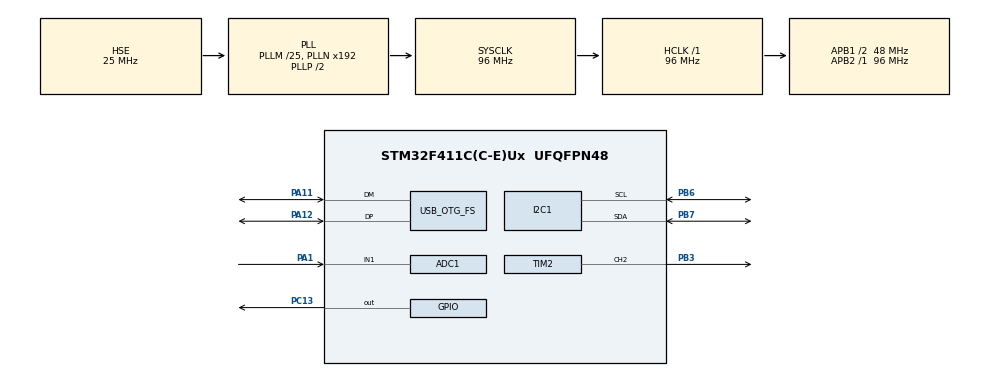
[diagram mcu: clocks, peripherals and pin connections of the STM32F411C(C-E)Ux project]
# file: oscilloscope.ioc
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ADC1.Channel-0\#ChannelRegularConversion=ADC_CHANNEL_1
ADC1.ContinuousConvMode=ENABLE
ADC1.DMAContinuousRequests=ENABLE
ADC1.ExternalTrigConv=ADC_SOFTWARE_START
ADC1.NbrOfConversion=1
ADC1.NbrOfConversionFlag=1
ADC1.Rank-0\#ChannelRegularConversion=1
ADC1.SamplingTime-0\#ChannelRegularConversion=ADC_SAMPLETIME_3CYCLES
ADC1.master=1
Dma.ADC1.0.Direction=DMA_PERIPH_TO_MEMORY
Dma.ADC1.0.FIFOMode=DMA_FIFOMODE_DISABLE
Dma.ADC1.0.Instance=DMA2_Stream0
Dma.ADC1.0.MemDataAlignment=DMA_MDATAALIGN_HALFWORD
Dma.ADC1.0.MemInc=DMA_MINC_ENABLE
Dma.ADC1.0.Mode=DMA_CIRCULAR
Dma.ADC1.0.PeriphDataAlignment=DMA_PDATAALIGN_HALFWORD
Dma.ADC1.0.PeriphInc=DMA_PINC_DISABLE
Dma.ADC1.0.Priority=DMA_PRIORITY_LOW
Dma.Request0=ADC1
Mcu.Family=STM32F4
Mcu.Name=STM32F411C(C-E)Ux
Mcu.Package=UFQFPN48
NVIC.DMA2_Stream0_IRQn=true\:0\:0\:false\:false\:true\:false\:true\:true
NVIC.OTG_FS_IRQn=true\:0\:0\:false\:false\:true\:false\:true\:true
NVIC.PriorityGroup=NVIC_PRIORITYGROUP_4
PA1.Signal=ADCx_IN1
PA11.Mode=Device_Only
PA11.Signal=USB_OTG_FS_DM
PA12.Mode=Device_Only
PA12.Signal=USB_OTG_FS_DP
PB3.Signal=S_TIM2_CH2
PB6.Mode=I2C
PB6.Signal=I2C1_SCL
PB7.Mode=I2C
PB7.Signal=I2C1_SDA
PC13-ANTI_TAMP.Signal=GPIO_Output
PC14-OSC32_IN.Mode=LSE-External-Oscillator
PC14-OSC32_IN.Signal=RCC_OSC32_IN
PC15-OSC32_OUT.Mode=LSE-External-Oscillator
PC15-OSC32_OUT.Signal=RCC_OSC32_OUT
PH0\ -\ OSC_IN.Mode=HSE-External-Oscillator
PH0\ -\ OSC_IN.Signal=RCC_OSC_IN
PH1\ -\ OSC_OUT.Mode=HSE-External-Oscillator
PH1\ -\ OSC_OUT.Signal=RCC_OSC_OUT
ProjectManager.HeapSize=0x200
ProjectManager.StackSize=0x400
ProjectManager.TargetToolchain=Makefile
RCC.48MHZClocksFreq_Value=48000000
RCC.AHBFreq_Value=96000000
RCC.APB1CLKDivider=RCC_HCLK_DIV2
RCC.APB1Freq_Value=48000000
RCC.APB1TimFreq_Value=96000000
RCC.APB2Freq_Value=96000000
RCC.APB2TimFreq_Value=96000000
RCC.CortexFreq_Value=96000000
RCC.HCLKFreq_Value=96000000
RCC.HSE_VALUE=25000000
RCC.HSI_VALUE=16000000
RCC.PLLM=25
RCC.SYSCLKFreq_VALUE=96000000
RCC.SYSCLKSource=RCC_SYSCLKSOURCE_PLLCLK
RCC.VCOOutputFreq_Value=192000000
SH.ADCx_IN1.0=ADC1_IN1,IN1
SH.S_TIM2_CH2.0=TIM2_CH2,PWM Generation2 CH2
TIM11.Period=65535
TIM11.Prescaler=96-1
TIM2.AutoReloadPreload=TIM_AUTORELOAD_PRELOAD_ENABLE
TIM2.Channel-PWM\ Generation2\ CH2=TIM_CHANNEL_2
TIM2.Period=65535
USB_DEVICE.CLASS_NAME_FS=CDC
USB_DEVICE.VirtualMode=Cdc
USB_DEVICE.VirtualModeFS=Cdc_FS
USB_OTG_FS.VirtualMode=Device_Only
VP_TIM11_VS_ClockSourceINT.Mode=Enable_Timer
VP_TIM2_VS_ClockSourceINT.Mode=Internal
VP_USB_DEVICE_VS_USB_DEVICE_CDC_FS.Mode=CDC_FS
board=custom

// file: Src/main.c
/* USER CODE BEGIN Header */
/**
  ******************************************************************************
  * @file           : main.c
  * @brief          : Main program body
  ******************************************************************************
  * @attention
  *
  * Copyright (c) 2022 STMicroelectronics.
  * All rights reserved.
  *
  * This software is licensed under terms that can be found in the LICENSE file
  * in the root directory of this software component.
  * If no LICENSE file comes with this software, it is provided AS-IS.
  *
  ******************************************************************************
  */
/* USER CODE END Header */
#include "main.h"
#include "usb_device.h"

/* USER CODE BEGIN Includes */
#include <stdbool.h>
#include <stdio.h>

#include "setting.h"
#include "usbd_cdc_if.h"

/* USER CODE END Includes */

/* USER CODE BEGIN PD */
#define ADC_BUF_LEN 8192
#define SECOND 1000

/* USER CODE END PD */

ADC_HandleTypeDef hadc1;
DMA_HandleTypeDef hdma_adc1;

I2C_HandleTypeDef hi2c1;

TIM_HandleTypeDef htim2;
TIM_HandleTypeDef htim11;

/* USER CODE BEGIN PV */

// adc buffer
uint16_t adc_buf[ADC_BUF_LEN];
bool flag_adc_full = false;
bool adc_half_flag = false;

/* USER CODE END PV */

void SystemClock_Config(void);
static void MX_GPIO_Init(void);
static void MX_DMA_Init(void);
static void MX_ADC1_Init(void);
static void MX_I2C1_Init(void);
static void MX_TIM11_Init(void);
static void MX_TIM2_Init(void);

/* USER CODE BEGIN 0 */

/**
 * @brief overload of _write function for use with printf
 *
 * @param file - not in use
 * @param ptr c_str
 * @param len of the string
 * @return int - if all sended it will return
 */
int _write(int file, char* ptr, int len)
{
    static uint8_t ret = USBD_OK;
    do
    {
        ret = CDC_Transmit_FS((uint8_t*)ptr, len);
    } while (ret == USBD_BUSY);
    return len;
}

/**
 * @brief print the time it took in `us` to cdc
 *
 * @param start_time
 */
static inline void printTimeLog_us(uint16_t start_time)
{
    uint16_t timer_took = __HAL_TIM_GET_COUNTER(&htim11) - start_time;
    printf("time: %u us\r\n", timer_took);
}
/**
 * @brief print the time it took in `ms` to cdc
 *
 * @param start_time
 */
static inline void printTimeLog_ms(uint32_t start_time)
{
    uint32_t timer_took = HAL_GetTick() - start_time;
    printf("time: %lu ms\r\n", timer_took);
}

/**
 * @brief print the buffer in a cycle way
 *
 * @param adc_buf the buffer of the ADC
 * @param start_pos starting position can be before the real pos (can be minus)
 * @param send_size how much to send
 * @param stride how many reading to jump over
 */
void printAdcBuffer(uint16_t* adc_buf, int start_pos, uint16_t send_size, uint16_t stride)
{
    int buffer_size = ADC_BUF_LEN;
    int arr_pos     = (start_pos + buffer_size) % buffer_size;

    for (int i = start_pos; i < start_pos + send_size * stride; i += stride)
    {
        printf("%u\r\n", adc_buf[arr_pos]);
        arr_pos = (arr_pos + stride) % buffer_size;
    }
}

/* USER CODE END 0 */

int main(void)
{

  /* MCU Configuration--------------------------------------------------------*/

  /* Reset of all peripherals, Initializes the Flash interface and the Systick. */
  HAL_Init();

  /* Configure the system clock */
  SystemClock_Config();

  /* Initialize all configured peripherals */
  MX_GPIO_Init();
  MX_DMA_Init();
  MX_ADC1_Init();
  MX_I2C1_Init();
  MX_TIM11_Init();
  MX_USB_DEVICE_Init();
  MX_TIM2_Init();
  /* USER CODE BEGIN 2 */
  HAL_ADC_Start_DMA(&hadc1, (uint32_t*)adc_buf, ADC_BUF_LEN);
  HAL_TIM_Base_Start(&htim11);

  HAL_TIM_PWM_Start(&htim2, TIM_CHANNEL_2);

#define SCREEN_SIZE 500
#define MAX_READING 4096

  Setting setting = {
      .stride            = 2,
      .trigger_volt      = MAX_READING / 2,
      .send_size         = SCREEN_SIZE,
      .trigger_direction = UP,
      .rewind            = 10,
  };

  TIM2->CCR2 = 65535 / 100;
  /* USER CODE END 2 */

  /* Infinite loop */
  while (1)
  {
    /* USER CODE BEGIN 3 */
    // // time in us
    // uint16_t timer_us = __HAL_TIM_GET_COUNTER(&htim11); // this is good up to 65ms
    // // <function>
    // printTimeLog_us(timer_us);

    // // time in ms
    // uint32_t timer_ms = HAL_GetTick();
    // // <function>
    // printTimeLog_ms(timer_ms);

    // check if got new input
    if (g_receive_new_data)
    {
        g_receive_new_data = false;
        configSetting(g_receive_buffer, &setting);
    }

    if (flag_adc_full)
    {
        flag_adc_full = false;
        HAL_ADC_Stop_DMA(&hadc1);

        bool scanning = true;
        bool trigger_setup = false;
        for (size_t i = 0; i < ADC_BUF_LEN && scanning; i++)
        {
            switch (setting.trigger_direction)
            {
                case UP:
                    if (adc_buf[i] < setting.trigger_volt)
                    {
                        trigger_setup = true;
                    }
                    if (adc_buf[i] >= setting.trigger_volt && trigger_setup)
                    {
                        // TODO: put adc buff in struct
                        printAdcBuffer(adc_buf, i - setting.rewind, setting.send_size, setting.stride);
                        HAL_Delay(SECOND / 2);
                        HAL_GPIO_WritePin(GPIOC, GPIO_PIN_13, GPIO_PIN_RESET);
                        scanning = false;
                    }
                    break;
                case DOWN:
                    if (adc_buf[i] >= setting.trigger_volt)
                    {
                        trigger_setup = true;
                    }
                    if (adc_buf[i] < setting.trigger_volt && trigger_setup)
                    {
                        // TODO: put adc buff in struct
                        printAdcBuffer(adc_buf, i - setting.rewind, setting.send_size, setting.stride);
                        HAL_Delay(SECOND / 2);
                        HAL_GPIO_WritePin(GPIOC, GPIO_PIN_13, GPIO_PIN_RESET);
                        scanning = false;
                    }
                    break;
                case STOP:
                    scanning = false;
                    break;

                default:
                    scanning = false;
                    break;
            }
        }
        HAL_ADC_Start_DMA(&hadc1, (uint32_t*)adc_buf, ADC_BUF_LEN);
    }
  }
  /* USER CODE END 3 */
}

void SystemClock_Config(void)
{
  RCC_OscInitTypeDef RCC_OscInitStruct = {0};
  RCC_ClkInitTypeDef RCC_ClkInitStruct = {0};

  /** Configure the main internal regulator output voltage
  */
  __HAL_RCC_PWR_CLK_ENABLE();
  __HAL_PWR_VOLTAGESCALING_CONFIG(PWR_REGULATOR_VOLTAGE_SCALE1);

  /** Initializes the RCC Oscillators according to the specified parameters
  * in the RCC_OscInitTypeDef structure.
  */
  RCC_OscInitStruct.OscillatorType = RCC_OSCILLATORTYPE_HSE;
  RCC_OscInitStruct.HSEState = RCC_HSE_ON;
  RCC_OscInitStruct.PLL.PLLState = RCC_PLL_ON;
  RCC_OscInitStruct.PLL.PLLSource = RCC_PLLSOURCE_HSE;
  RCC_OscInitStruct.PLL.PLLM = 25;
  RCC_OscInitStruct.PLL.PLLN = 192;
  RCC_OscInitStruct.PLL.PLLP = RCC_PLLP_DIV2;
  RCC_OscInitStruct.PLL.PLLQ = 4;
  if (HAL_RCC_OscConfig(&RCC_OscInitStruct) != HAL_OK)
  {
    Error_Handler();
  }

  /** Initializes the CPU, AHB and APB buses clocks
  */
  RCC_ClkInitStruct.ClockType = RCC_CLOCKTYPE_HCLK|RCC_CLOCKTYPE_SYSCLK
                              |RCC_CLOCKTYPE_PCLK1|RCC_CLOCKTYPE_PCLK2;
  RCC_ClkInitStruct.SYSCLKSource = RCC_SYSCLKSOURCE_PLLCLK;
  RCC_ClkInitStruct.AHBCLKDivider = RCC_SYSCLK_DIV1;
  RCC_ClkInitStruct.APB1CLKDivider = RCC_HCLK_DIV2;
  RCC_ClkInitStruct.APB2CLKDivider = RCC_HCLK_DIV1;

  if (HAL_RCC_ClockConfig(&RCC_ClkInitStruct, FLASH_LATENCY_3) != HAL_OK)
  {
    Error_Handler();
  }
}

static void MX_ADC1_Init(void)
{

  ADC_ChannelConfTypeDef sConfig = {0};

  /** Configure the global features of the ADC (Clock, Resolution, Data Alignment and number of conversion)
  */
  hadc1.Instance = ADC1;
  hadc1.Init.ClockPrescaler = ADC_CLOCK_SYNC_PCLK_DIV4;
  hadc1.Init.Resolution = ADC_RESOLUTION_12B;
  hadc1.Init.ScanConvMode = DISABLE;
  hadc1.Init.ContinuousConvMode = ENABLE;
  hadc1.Init.DiscontinuousConvMode = DISABLE;
  hadc1.Init.ExternalTrigConvEdge = ADC_EXTERNALTRIGCONVEDGE_NONE;
  hadc1.Init.ExternalTrigConv = ADC_SOFTWARE_START;
  hadc1.Init.DataAlign = ADC_DATAALIGN_RIGHT;
  hadc1.Init.NbrOfConversion = 1;
  hadc1.Init.DMAContinuousRequests = ENABLE;
  hadc1.Init.EOCSelection = ADC_EOC_SINGLE_CONV;
  if (HAL_ADC_Init(&hadc1) != HAL_OK)
  {
    Error_Handler();
  }

  /** Configure for the selected ADC regular channel its corresponding rank in the sequencer and its sample time.
  */
  sConfig.Channel = ADC_CHANNEL_1;
  sConfig.Rank = 1;
  sConfig.SamplingTime = ADC_SAMPLETIME_3CYCLES;
  if (HAL_ADC_ConfigChannel(&hadc1, &sConfig) != HAL_OK)
  {
    Error_Handler();
  }

}

static void MX_I2C1_Init(void)
{

  hi2c1.Instance = I2C1;
  hi2c1.Init.ClockSpeed = 100000;
  hi2c1.Init.DutyCycle = I2C_DUTYCYCLE_2;
  hi2c1.Init.OwnAddress1 = 0;
  hi2c1.Init.AddressingMode = I2C_ADDRESSINGMODE_7BIT;
  hi2c1.Init.DualAddressMode = I2C_DUALADDRESS_DISABLE;
  hi2c1.Init.OwnAddress2 = 0;
  hi2c1.Init.GeneralCallMode = I2C_GENERALCALL_DISABLE;
  hi2c1.Init.NoStretchMode = I2C_NOSTRETCH_DISABLE;
  if (HAL_I2C_Init(&hi2c1) != HAL_OK)
  {
    Error_Handler();
  }

}

static void MX_TIM2_Init(void)
{

  TIM_ClockConfigTypeDef sClockSourceConfig = {0};
  TIM_MasterConfigTypeDef sMasterConfig = {0};
  TIM_OC_InitTypeDef sConfigOC = {0};

  htim2.Instance = TIM2;
  htim2.Init.Prescaler = 0;
  htim2.Init.CounterMode = TIM_COUNTERMODE_UP;
  htim2.Init.Period = 65535;
  htim2.Init.ClockDivision = TIM_CLOCKDIVISION_DIV1;
  htim2.Init.AutoReloadPreload = TIM_AUTORELOAD_PRELOAD_ENABLE;
  if (HAL_TIM_Base_Init(&htim2) != HAL_OK)
  {
    Error_Handler();
  }
  sClockSourceConfig.ClockSource = TIM_CLOCKSOURCE_INTERNAL;
  if (HAL_TIM_ConfigClockSource(&htim2, &sClockSourceConfig) != HAL_OK)
  {
    Error_Handler();
  }
  if (HAL_TIM_PWM_Init(&htim2) != HAL_OK)
  {
    Error_Handler();
  }
  sMasterConfig.MasterOutputTrigger = TIM_TRGO_RESET;
  sMasterConfig.MasterSlaveMode = TIM_MASTERSLAVEMODE_DISABLE;
  if (HAL_TIMEx_MasterConfigSynchronization(&htim2, &sMasterConfig) != HAL_OK)
  {
    Error_Handler();
  }
  sConfigOC.OCMode = TIM_OCMODE_PWM1;
  sConfigOC.Pulse = 0;
  sConfigOC.OCPolarity = TIM_OCPOLARITY_HIGH;
  sConfigOC.OCFastMode = TIM_OCFAST_DISABLE;
  if (HAL_TIM_PWM_ConfigChannel(&htim2, &sConfigOC, TIM_CHANNEL_2) != HAL_OK)
  {
    Error_Handler();
  }
  HAL_TIM_MspPostInit(&htim2);

}

static void MX_TIM11_Init(void)
{

  htim11.Instance = TIM11;
  htim11.Init.Prescaler = 96-1;
  htim11.Init.CounterMode = TIM_COUNTERMODE_UP;
  htim11.Init.Period = 65535;
  htim11.Init.ClockDivision = TIM_CLOCKDIVISION_DIV1;
  htim11.Init.AutoReloadPreload = TIM_AUTORELOAD_PRELOAD_DISABLE;
  if (HAL_TIM_Base_Init(&htim11) != HAL_OK)
  {
    Error_Handler();
  }

}

static void MX_DMA_Init(void)
{

  /* DMA controller clock enable */
  __HAL_RCC_DMA2_CLK_ENABLE();

  /* DMA interrupt init */
  /* DMA2_Stream0_IRQn interrupt configuration */
  HAL_NVIC_SetPriority(DMA2_Stream0_IRQn, 0, 0);
  HAL_NVIC_EnableIRQ(DMA2_Stream0_IRQn);

}

static void MX_GPIO_Init(void)
{
  GPIO_InitTypeDef GPIO_InitStruct = {0};

  /* GPIO Ports Clock Enable */
  __HAL_RCC_GPIOC_CLK_ENABLE();
  __HAL_RCC_GPIOH_CLK_ENABLE();
  __HAL_RCC_GPIOA_CLK_ENABLE();
  __HAL_RCC_GPIOB_CLK_ENABLE();

  /*Configure GPIO pin Output Level */
  HAL_GPIO_WritePin(GPIOC, GPIO_PIN_13, GPIO_PIN_RESET);

  /*Configure GPIO pin : PC13 */
  GPIO_InitStruct.Pin = GPIO_PIN_13;
  GPIO_InitStruct.Mode = GPIO_MODE_OUTPUT_PP;
  GPIO_InitStruct.Pull = GPIO_NOPULL;
  GPIO_InitStruct.Speed = GPIO_SPEED_FREQ_LOW;
  HAL_GPIO_Init(GPIOC, &GPIO_InitStruct);

}

/* USER CODE BEGIN 4 */
// Called when first half of buffer is filled
void HAL_ADC_ConvHalfCpltCallback(ADC_HandleTypeDef* hadc)
{
    adc_half_flag = true;
}

// Called when buffer is completely filled
void HAL_ADC_ConvCpltCallback(ADC_HandleTypeDef* hadc)
{
    flag_adc_full = true;
    HAL_GPIO_WritePin(GPIOC, GPIO_PIN_13, GPIO_PIN_SET);
}
/* USER CODE END 4 */

void Error_Handler(void)
{
  __disable_irq();
  while (1)
  {
  }
}
